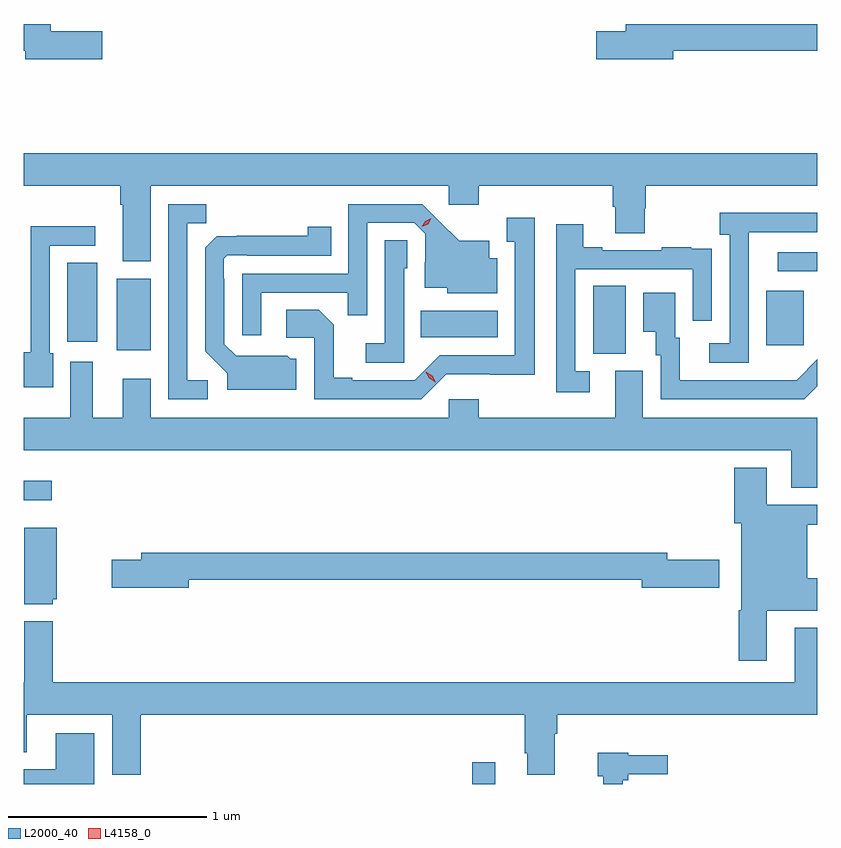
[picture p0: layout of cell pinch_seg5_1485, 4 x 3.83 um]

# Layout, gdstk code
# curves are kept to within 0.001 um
import gdstk
lib = gdstk.Library(unit=1e-6, precision=1e-09)
def R(c, l, rs):  # rectangles x0, y0, x1, y1
    for r in rs: c.add(gdstk.rectangle(r[:2], r[2:], *l))
def P(c, l, *ps):  # polygons
    for p in ps: c.add(gdstk.Polygon(p, *l))
L2000_40 = (2000, 40)
L4158_0 = (4158, 0)

pinch_seg5_1485 = lib.new_cell('pinch_seg5_1485')
R(pinch_seg5_1485, L2000_40, [(301.906,849.75,302.023,849.859), (299.646,851.18,299.788,851.278), (302.516,851.917,302.68,852.26), (300.116,851.936,300.286,852.295), (303.389,851.961,303.577,852.235), (299.867,851.979,300.016,852.377), (301.648,852.002,302.035,852.136), (303.447,852.333,303.646,852.429)])
P(pinch_seg5_1485, L2000_40, [(302.92,853.444),(303.646,853.444),(303.646,853.58),(302.681,853.58),(302.681,853.544),(302.532,853.544),(302.532,853.402),(302.92,853.402)],
  [(300.043,853.544),(299.782,853.544),(299.782,853.58),(299.646,853.58),(299.646,853.444),(299.654,853.444),(299.654,853.402),(300.043,853.402)],
  [(300.286,852.764),(301.788,852.764),(301.788,852.669),(301.94,852.669),(301.94,852.764),(302.615,852.764),(302.615,852.658),(302.627,852.658),(302.627,852.526),(302.775,852.526),(302.775,852.651),(302.78,852.651),(302.78,852.764),(303.646,852.764),(303.646,852.928),(299.646,852.928),(299.646,852.764),(300.134,852.764),(300.134,852.668),(300.146,852.668),(300.146,852.384),(300.286,852.384)],
  [(300.574,851.784),(300.471,851.784),(300.471,852.577),(300.567,852.577),(300.567,852.672),(300.375,852.672),(300.375,851.688),(300.574,851.688)],
  [(300.843,852.225),(301.279,852.225),(301.279,852.112),(301.377,852.112),(301.377,852.579),(301.614,852.579),(301.671,852.522),(301.671,852.38),(301.667,852.38),(301.667,852.251),(301.782,852.251),(301.782,852.224),(302.032,852.224),(302.032,852.4),(301.993,852.4),(301.993,852.487),(301.841,852.487),(301.654,852.672),(301.281,852.672),(301.281,852.321),(300.747,852.321),(300.747,852.012),(300.843,852.012)],
  [(303.3,852.331),(303.301,852.331),(303.301,852.531),(303.646,852.531),(303.646,852.628),(303.153,852.628),(303.153,852.518),(303.204,852.518),(303.204,851.97),(303.102,851.97),(303.102,851.874),(303.3,851.874)],
  [(301.776,851.814),(302.221,851.813),(302.221,852.604),(302.081,852.604),(302.081,852.483),(302.12,852.483),(302.12,851.91),(301.743,851.91),(301.617,851.784),(301.303,851.784),(301.303,851.797),(301.209,851.797),(301.209,852.064),(301.133,852.14),(300.969,852.14),(300.969,852),(301.11,852),(301.11,851.688),(301.65,851.688)],
  [(302.5,851.829),(302.427,851.829),(302.427,852.345),(303.018,852.345),(303.018,852.084),(303.114,852.084),(303.114,852.338),(303.113,852.338),(303.113,852.447),(303.011,852.447),(303.011,852.454),(302.863,852.454),(302.863,852.441),(302.563,852.441),(302.563,852.454),(302.467,852.454),(302.467,852.571),(302.331,852.571),(302.331,851.724),(302.5,851.724)],
  [(299.794,851.922),(299.778,851.922),(299.778,852.462),(300.007,852.462),(300.007,852.56),(299.682,852.56),(299.682,851.926),(299.646,851.926),(299.646,851.75),(299.794,851.75)],
  [(301.021,851.892),(300.99,851.892),(300.974,851.908),(300.717,851.907),(300.657,851.967),(300.657,852.296),(300.654,852.296),(300.654,852.396),(300.672,852.414),(300.772,852.414),(300.772,852.411),(301.196,852.411),(301.196,852.559),(301.078,852.559),(301.078,852.512),(300.62,852.511),(300.561,852.452),(300.561,851.93),(300.671,851.82),(300.671,851.738),(301.021,851.738)],
  [(301.563,852.348),(301.578,852.348),(301.578,852.491),(301.467,852.491),(301.467,851.971),(301.371,851.971),(301.371,851.874),(301.563,851.874)],
  [(303.646,851.754),(303.646,851.89),(303.541,851.785),(302.953,851.784),(302.953,852),(302.929,852),(302.929,852.226),(302.768,852.226),(302.768,852.029),(302.831,852.029),(302.831,851.91),(302.856,851.91),(302.856,851.688),(303.58,851.688)],
  [(303.646,851.596),(302.767,851.596),(302.767,851.832),(302.627,851.832),(302.627,851.596),(301.94,851.596),(301.94,851.689),(301.788,851.689),(301.788,851.596),(300.286,851.596),(300.286,851.791),(300.146,851.791),(300.146,851.596),(299.995,851.596),(299.995,851.878),(299.882,851.878),(299.882,851.596),(299.646,851.596),(299.646,851.432),(303.515,851.432),(303.515,851.242),(303.646,851.242)],
  [(303.391,850.622),(303.646,850.622),(303.646,850.786),(303.595,850.786),(303.595,851.056),(303.646,851.056),(303.646,851.157),(303.391,851.157),(303.391,851.344),(303.227,851.344),(303.227,851.064),(303.263,851.064),(303.263,850.626),(303.251,850.626),(303.251,850.371),(303.391,850.371)],
  [(299.793,850.68),(299.812,850.68),(299.812,851.041),(299.648,851.041),(299.648,850.655),(299.793,850.655)],
  [(300.478,850.78),(302.762,850.78),(302.762,850.738),(303.151,850.738),(303.151,850.88),(302.89,850.88),(302.89,850.916),(300.239,850.916),(300.239,850.88),(300.09,850.88),(300.09,850.738),(300.478,850.738)],
  [(300.236,850.1),(302.171,850.1),(302.171,849.904),(302.183,849.904),(302.183,849.796),(302.323,849.796),(302.323,850.004),(302.336,850.004),(302.336,850.1),(303.646,850.1),(303.646,850.537),(303.533,850.537),(303.533,850.264),(299.792,850.264),(299.792,850.57),(299.648,850.57),(299.648,850.264),(299.646,850.264),(299.646,849.91),(299.662,849.91),(299.662,850.1),(300.092,850.1),(300.092,849.796),(300.236,849.796)],
  [(300.003,850.006),(299.807,850.006),(299.807,849.825),(299.646,849.825),(299.646,849.75),(300.003,849.75)],
  [(302.664,849.77),(302.694,849.77),(302.694,849.798),(302.893,849.798),(302.893,849.896),(302.694,849.896),(302.694,849.907),(302.54,849.907),(302.54,849.789),(302.568,849.789),(302.568,849.75),(302.664,849.75)])
P(pinch_seg5_1485, L4158_0, [(301.721,851.774),(301.69,851.794),(301.673,851.826),(301.673,851.827),(301.673,851.827),(301.705,851.807),(301.722,851.775),(301.722,851.774)],
  [(301.653,852.557),(301.653,852.557),(301.67,852.587),(301.7,852.602),(301.701,852.602),(301.701,852.602),(301.684,852.572),(301.653,852.557)])

lib.write_gds('pinch_seg5_1485.gds')
